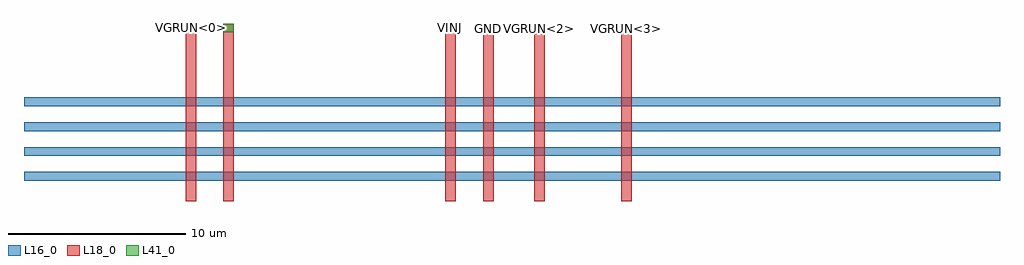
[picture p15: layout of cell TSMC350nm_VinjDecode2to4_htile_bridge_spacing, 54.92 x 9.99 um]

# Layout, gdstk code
import gdstk
lib = gdstk.Library(unit=1e-6, precision=1e-09)
def R(c, l, rs):  # rectangles x0, y0, x1, y1
    for r in rs: c.add(gdstk.rectangle(r[:2], r[2:], *l))
L16_0 = (16, 0)
L18_0 = (18, 0)
L41_0 = (41, 0)

tsmc350nm_vinjdecode2to4 = lib.new_cell('TSMC350nm_VinjDecode2to4_htile_bridge_spacing')
R(tsmc350nm_vinjdecode2to4, L18_0, [(11.2,0,11.8,9.99)])
R(tsmc350nm_vinjdecode2to4, L41_0, [(28.7,9.41,29.3,9.99), (33.6,9.47,34.2,9.99), (11.2,9.51,11.8,9.99), (9.1,9.52,9.7,9.99)])
tsmc350nm_vinjdecode2to4.add(gdstk.FlexPath([(0,4.2),(54.92,4.2)], 0.5, ends="flush", simple_path=True, layer=16, datatype=0))  # L16_0
tsmc350nm_vinjdecode2to4.add(gdstk.FlexPath([(0,5.6),(54.92,5.6)], 0.5, ends="flush", simple_path=True, layer=16, datatype=0))  # L16_0
tsmc350nm_vinjdecode2to4.add(gdstk.FlexPath([(0,2.8),(54.92,2.8)], 0.5, ends="flush", simple_path=True, layer=16, datatype=0))  # L16_0
tsmc350nm_vinjdecode2to4.add(gdstk.FlexPath([(0,1.4),(54.92,1.4)], 0.5, ends="flush", simple_path=True, layer=16, datatype=0))  # L16_0
tsmc350nm_vinjdecode2to4.add(gdstk.FlexPath([(9.4,0),(9.4,9.99)], 0.6, ends="flush", simple_path=True, layer=18, datatype=0))  # L18_0
tsmc350nm_vinjdecode2to4.add(gdstk.FlexPath([(29,0),(29,9.99)], 0.6, ends="flush", simple_path=True, layer=18, datatype=0))  # L18_0
tsmc350nm_vinjdecode2to4.add(gdstk.FlexPath([(33.9,0),(33.9,9.99)], 0.6, ends="flush", simple_path=True, layer=18, datatype=0))  # L18_0
tsmc350nm_vinjdecode2to4.add(gdstk.FlexPath([(24,0),(24,9.99)], 0.6, ends="flush", simple_path=True, layer=18, datatype=0))  # L18_0
tsmc350nm_vinjdecode2to4.add(gdstk.FlexPath([(26.14,0),(26.14,9.99)], 0.6, ends="flush", simple_path=True, layer=18, datatype=0))  # L18_0
tsmc350nm_vinjdecode2to4.add(gdstk.Label('VINJ', (24.02,9.76), layer=18, texttype=0))
tsmc350nm_vinjdecode2to4.add(gdstk.Label('GND', (26.13,9.73), layer=18, texttype=0))
tsmc350nm_vinjdecode2to4.add(gdstk.Label('VGRUN<0>', (9.45,9.76), layer=41, texttype=0))
tsmc350nm_vinjdecode2to4.add(gdstk.Label('VGRUN<1>', (11.53,9.73), layer=41, texttype=0))
tsmc350nm_vinjdecode2to4.add(gdstk.Label('VGRUN<2>', (29.03,9.7), layer=41, texttype=0))
tsmc350nm_vinjdecode2to4.add(gdstk.Label('VGRUN<3>', (33.92,9.72), layer=41, texttype=0))

lib.write_gds('TSMC350nm_VinjDecode2to4_htile_bridge_spacing.gds')
